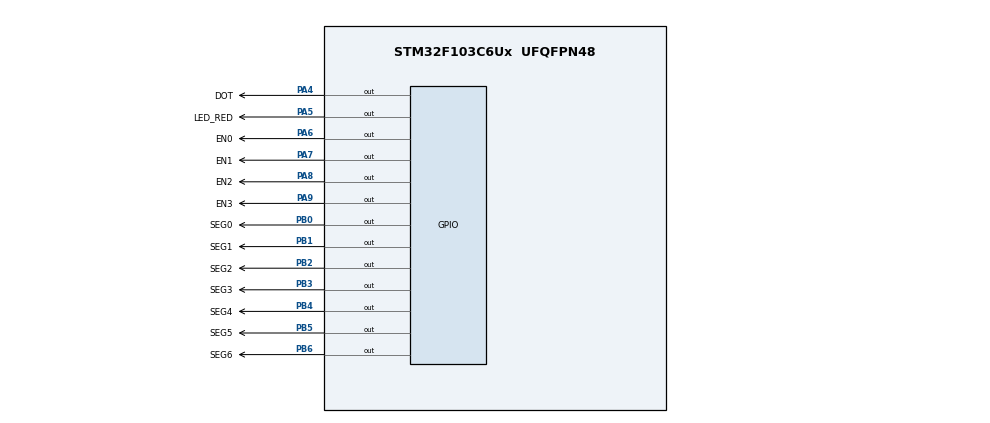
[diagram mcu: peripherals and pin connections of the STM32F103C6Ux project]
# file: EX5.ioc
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Mcu.Family=STM32F1
Mcu.Name=STM32F103C6Ux
Mcu.Package=UFQFPN48
NVIC.PriorityGroup=NVIC_PRIORITYGROUP_4
NVIC.TIM2_IRQn=true\:0\:0\:false\:false\:true\:true\:true
PA13.Mode=Serial_Wire
PA13.Signal=SYS_JTMS-SWDIO
PA14.Mode=Serial_Wire
PA14.Signal=SYS_JTCK-SWCLK
PA4.GPIO_Label=DOT
PA4.Signal=GPIO_Output
PA5.GPIO_Label=LED_RED
PA5.Signal=GPIO_Output
PA6.GPIO_Label=EN0
PA6.Signal=GPIO_Output
PA7.GPIO_Label=EN1
PA7.Signal=GPIO_Output
PA8.GPIO_Label=EN2
PA8.Signal=GPIO_Output
PA9.GPIO_Label=EN3
PA9.Signal=GPIO_Output
PB0.GPIO_Label=SEG0
PB0.Signal=GPIO_Output
PB1.GPIO_Label=SEG1
PB1.Signal=GPIO_Output
PB2.GPIO_Label=SEG2
PB2.Signal=GPIO_Output
PB3.GPIO_Label=SEG3
PB3.Signal=GPIO_Output
PB4.GPIO_Label=SEG4
PB4.Signal=GPIO_Output
PB5.GPIO_Label=SEG5
PB5.Signal=GPIO_Output
PB6.GPIO_Label=SEG6
PB6.Signal=GPIO_Output
ProjectManager.HeapSize=0x200
ProjectManager.StackSize=0x400
ProjectManager.TargetToolchain=STM32CubeIDE
RCC.APB1Freq_Value=8000000
RCC.APB2Freq_Value=8000000
TIM2.Period=9
TIM2.Prescaler=7999
VP_TIM2_VS_ClockSourceINT.Mode=Internal
board=custom

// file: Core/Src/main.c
/* USER CODE BEGIN Header */
/**
  ******************************************************************************
  * @file           : main.c
  * @brief          : Main program body
  ******************************************************************************
  * @attention
  *
  * <h2><center>&copy; Copyright (c) 2023 STMicroelectronics.
  * All rights reserved.</center></h2>
  *
  * This software component is licensed by ST under BSD 3-Clause license,
  * the "License"; You may not use this file except in compliance with the
  * License. You may obtain a copy of the License at:
  *                        opensource.org/licenses/BSD-3-Clause
  *
  ******************************************************************************
  */
/* USER CODE END Header */
#include "main.h"

/* USER CODE BEGIN Includes */
#include "software_timer.h"
/* USER CODE END Includes */

TIM_HandleTypeDef htim2;

void SystemClock_Config(void);
static void MX_GPIO_Init(void);
static void MX_TIM2_Init(void);

int main(void)
{

  /* MCU Configuration--------------------------------------------------------*/

  /* Reset of all peripherals, Initializes the Flash interface and the Systick. */
  HAL_Init();

  /* Configure the system clock */
  SystemClock_Config();

  /* Initialize all configured peripherals */
  MX_GPIO_Init();
  MX_TIM2_Init();
  /* USER CODE BEGIN 2 */
  HAL_TIM_Base_Start_IT(&htim2);
     int hour = 15 , minute = 8 , second = 50 ;
     void display7SEG( int num ){
           char LED7SEG [10] = {0xC0, 0xF9, 0xA4, 0xB0, 0x99, 0x92, 0x82, 0xF8, 0x80, 0x90 };
           for ( int i = 0; i < 7; ++ i) {
           HAL_GPIO_WritePin ( GPIOB , GPIO_PIN_0 << i , ( LED7SEG [num ] >> i ) & 1) ;}
           }
     void pinenable(int a){
         	if (a == 0){
         		HAL_GPIO_WritePin(GPIOA, EN0_Pin, RESET);
         		HAL_GPIO_WritePin(GPIOA, EN1_Pin, SET);
         		HAL_GPIO_WritePin(GPIOA, EN2_Pin, SET);
         		HAL_GPIO_WritePin(GPIOA, EN3_Pin, SET);
         	}
         	if (a == 1){
         		HAL_GPIO_WritePin(GPIOA, EN0_Pin, SET);
         		HAL_GPIO_WritePin(GPIOA, EN1_Pin, RESET);
         		HAL_GPIO_WritePin(GPIOA, EN2_Pin, SET);
         		HAL_GPIO_WritePin(GPIOA, EN3_Pin, SET);
         	}
         	if (a == 2){
         	  	HAL_GPIO_WritePin(GPIOA, EN1_Pin, SET);
         	  	HAL_GPIO_WritePin(GPIOA, EN0_Pin, SET);
         	  	HAL_GPIO_WritePin(GPIOA, EN2_Pin, RESET);
         	  	HAL_GPIO_WritePin(GPIOA, EN3_Pin, SET);
         	  	}
         	if (a == 3){
         	  	HAL_GPIO_WritePin(GPIOA, EN1_Pin, SET);
         	  	HAL_GPIO_WritePin(GPIOA, EN0_Pin, SET);
         	  	HAL_GPIO_WritePin(GPIOA, EN2_Pin, SET);
         	  	HAL_GPIO_WritePin(GPIOA, EN3_Pin, RESET);
         	  	}
         }
     const int MAX_LED = 4;
     int index_led = 0;
     int led_buffer [4] = {1 , 2 , 3 , 4};
     void updateClockBuffer(){
     	led_buffer[0] = hour / 10;
     	led_buffer[1] = hour % 10;
     	led_buffer[2] = minute / 10;
     	led_buffer[3] = minute % 10;
     }
     void update7SEG ( int index ) {
       	switch ( index ) {
       		case 0:
       			// Display the first 7 SEG with led_buffer [0]
       			display7SEG(led_buffer[0]);
       			pinenable(0);
       			break ;
       		case 1:
       			// Display the second 7 SEG with led_buffer [1]
       			display7SEG(led_buffer[1]);
       			pinenable(1);
       			break ;
       		case 2:
       			// Display the third 7 SEG with led_buffer [2]
       			display7SEG(led_buffer[2]);
       			pinenable(2);
       			break ;
       		case 3:
       			// Display the forth 7 SEG with led_buffer [3]
       			display7SEG(led_buffer[3]);
       			pinenable(3);
       	}
     }
  /* USER CODE END 2 */

  /* Infinite loop */
  /* USER CODE BEGIN WHILE */
            setTimer1(1);
            setTimer2(1);
    	    setTimer3(100);
    	    while (1)
    	    {
    	  	  if(timer1_flag == 1){
    	  		  setTimer1(25);
    	  		  update7SEG(index_led);
    	  		  index_led++;
    	  		  if (index_led >= MAX_LED ) index_led = 0;
    	  	  	}
    	  	  if(timer2_flag == 1){
    	  		  setTimer2(50);
    	  		  HAL_GPIO_TogglePin(GPIOA, LED_RED_Pin);
    	  		  HAL_GPIO_TogglePin(GPIOA, DOT_Pin);
    	  		  updateClockBuffer() ;
    	  	  	  }
    	  	  if(timer3_flag == 1){
    	  		  setTimer3(100);
    	  		  second++;
    	  		  if ( second >= 60) {
    	  			  second = 0;
    	  			  minute ++;
    	  		  }
    	  		  if( minute >= 60) {
    	  			  minute = 0;
    	  			  hour ++;
    	  		  }
    	  		  if( hour >=24) {
    	  			  hour = 0;
    	  		  }
    	  	  }
    /* USER CODE END WHILE */

  }
}

void SystemClock_Config(void)
{
  RCC_OscInitTypeDef RCC_OscInitStruct = {0};
  RCC_ClkInitTypeDef RCC_ClkInitStruct = {0};

  /** Initializes the RCC Oscillators according to the specified parameters
  * in the RCC_OscInitTypeDef structure.
  */
  RCC_OscInitStruct.OscillatorType = RCC_OSCILLATORTYPE_HSI;
  RCC_OscInitStruct.HSIState = RCC_HSI_ON;
  RCC_OscInitStruct.HSICalibrationValue = RCC_HSICALIBRATION_DEFAULT;
  RCC_OscInitStruct.PLL.PLLState = RCC_PLL_NONE;
  if (HAL_RCC_OscConfig(&RCC_OscInitStruct) != HAL_OK)
  {
    Error_Handler();
  }
  /** Initializes the CPU, AHB and APB buses clocks
  */
  RCC_ClkInitStruct.ClockType = RCC_CLOCKTYPE_HCLK|RCC_CLOCKTYPE_SYSCLK
                              |RCC_CLOCKTYPE_PCLK1|RCC_CLOCKTYPE_PCLK2;
  RCC_ClkInitStruct.SYSCLKSource = RCC_SYSCLKSOURCE_HSI;
  RCC_ClkInitStruct.AHBCLKDivider = RCC_SYSCLK_DIV1;
  RCC_ClkInitStruct.APB1CLKDivider = RCC_HCLK_DIV1;
  RCC_ClkInitStruct.APB2CLKDivider = RCC_HCLK_DIV1;

  if (HAL_RCC_ClockConfig(&RCC_ClkInitStruct, FLASH_LATENCY_0) != HAL_OK)
  {
    Error_Handler();
  }
}

static void MX_TIM2_Init(void)
{

  TIM_ClockConfigTypeDef sClockSourceConfig = {0};
  TIM_MasterConfigTypeDef sMasterConfig = {0};

  htim2.Instance = TIM2;
  htim2.Init.Prescaler = 7999;
  htim2.Init.CounterMode = TIM_COUNTERMODE_UP;
  htim2.Init.Period = 9;
  htim2.Init.ClockDivision = TIM_CLOCKDIVISION_DIV1;
  htim2.Init.AutoReloadPreload = TIM_AUTORELOAD_PRELOAD_DISABLE;
  if (HAL_TIM_Base_Init(&htim2) != HAL_OK)
  {
    Error_Handler();
  }
  sClockSourceConfig.ClockSource = TIM_CLOCKSOURCE_INTERNAL;
  if (HAL_TIM_ConfigClockSource(&htim2, &sClockSourceConfig) != HAL_OK)
  {
    Error_Handler();
  }
  sMasterConfig.MasterOutputTrigger = TIM_TRGO_RESET;
  sMasterConfig.MasterSlaveMode = TIM_MASTERSLAVEMODE_DISABLE;
  if (HAL_TIMEx_MasterConfigSynchronization(&htim2, &sMasterConfig) != HAL_OK)
  {
    Error_Handler();
  }

}

static void MX_GPIO_Init(void)
{
  GPIO_InitTypeDef GPIO_InitStruct = {0};

  /* GPIO Ports Clock Enable */
  __HAL_RCC_GPIOA_CLK_ENABLE();
  __HAL_RCC_GPIOB_CLK_ENABLE();

  /*Configure GPIO pin Output Level */
  HAL_GPIO_WritePin(GPIOA, DOT_Pin|LED_RED_Pin|EN0_Pin|EN1_Pin
                          |EN2_Pin|EN3_Pin, GPIO_PIN_RESET);

  /*Configure GPIO pin Output Level */
  HAL_GPIO_WritePin(GPIOB, SEG0_Pin|SEG1_Pin|SEG2_Pin|SEG3_Pin
                          |SEG4_Pin|SEG5_Pin|SEG6_Pin, GPIO_PIN_RESET);

  /*Configure GPIO pins : DOT_Pin LED_RED_Pin EN0_Pin EN1_Pin
                           EN2_Pin EN3_Pin */
  GPIO_InitStruct.Pin = DOT_Pin|LED_RED_Pin|EN0_Pin|EN1_Pin
                          |EN2_Pin|EN3_Pin;
  GPIO_InitStruct.Mode = GPIO_MODE_OUTPUT_PP;
  GPIO_InitStruct.Pull = GPIO_NOPULL;
  GPIO_InitStruct.Speed = GPIO_SPEED_FREQ_LOW;
  HAL_GPIO_Init(GPIOA, &GPIO_InitStruct);

  /*Configure GPIO pins : SEG0_Pin SEG1_Pin SEG2_Pin SEG3_Pin
                           SEG4_Pin SEG5_Pin SEG6_Pin */
  GPIO_InitStruct.Pin = SEG0_Pin|SEG1_Pin|SEG2_Pin|SEG3_Pin
                          |SEG4_Pin|SEG5_Pin|SEG6_Pin;
  GPIO_InitStruct.Mode = GPIO_MODE_OUTPUT_PP;
  GPIO_InitStruct.Pull = GPIO_NOPULL;
  GPIO_InitStruct.Speed = GPIO_SPEED_FREQ_LOW;
  HAL_GPIO_Init(GPIOB, &GPIO_InitStruct);

}

/* USER CODE BEGIN 4 */
void HAL_TIM_PeriodElapsedCallback(TIM_HandleTypeDef *htim){
	timerRun();
}
/* USER CODE END 4 */

void Error_Handler(void)
{
  __disable_irq();
  while (1)
  {
  }
}

/************************ (C) COPYRIGHT STMicroelectronics *****END OF FILE****/
